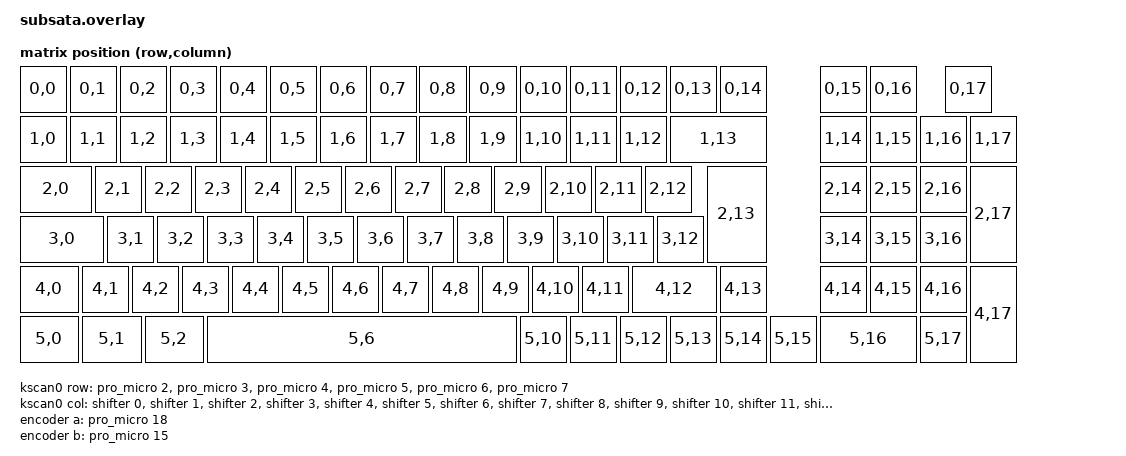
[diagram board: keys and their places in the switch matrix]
/*
 * Subsata (Grstn90Plus): 99 keys + an EC11 encoder on a nice!nano v2 (or a
 * "ProMicro NRF52840" clone), mounted face-down.
 *
 * Matrix: 6 rows x 18 columns, diodes col2row.
 *   Rows 0-5      D2-D7, read directly by the controller.
 *   Columns 0-15  two daisy-chained 74HC595 shift registers (U2 = 0-7, U3 = 8-15).
 *   Columns 16-17 D1 and D0, driven directly by the controller.
 *   The encoder's push switch is row 0, column 17.
 *
 * Shift registers: SER = D19 (P0.02), SRCLK = D20 (P0.29), RCLK (latch) = D21 (P0.31).
 * LEDs: 99 SK6812MINI-E, data on D8 (P1.04).
 * nice!view header: MOSI ("SDA") = D14 (P1.11), SCK ("SCL") = D16 (P0.10), CS = D10.
 */

#include <dt-bindings/zmk/matrix_transform.h>
#include <dt-bindings/led/led.h>
#include <physical_layouts.dtsi>

/ {
    chosen {
        zmk,physical-layout = &subsata_layout;
        zmk,underglow = &led_strip;
    };

    kscan0: kscan {
        compatible = "zmk,kscan-gpio-matrix";
        diode-direction = "col2row";

        row-gpios
            = <&pro_micro 2 (GPIO_ACTIVE_HIGH | GPIO_PULL_DOWN)>
            , <&pro_micro 3 (GPIO_ACTIVE_HIGH | GPIO_PULL_DOWN)>
            , <&pro_micro 4 (GPIO_ACTIVE_HIGH | GPIO_PULL_DOWN)>
            , <&pro_micro 5 (GPIO_ACTIVE_HIGH | GPIO_PULL_DOWN)>
            , <&pro_micro 6 (GPIO_ACTIVE_HIGH | GPIO_PULL_DOWN)>
            , <&pro_micro 7 (GPIO_ACTIVE_HIGH | GPIO_PULL_DOWN)>
            ;

        col-gpios
            = <&shifter 0 GPIO_ACTIVE_HIGH>     /* U2 QA */
            , <&shifter 1 GPIO_ACTIVE_HIGH>
            , <&shifter 2 GPIO_ACTIVE_HIGH>
            , <&shifter 3 GPIO_ACTIVE_HIGH>
            , <&shifter 4 GPIO_ACTIVE_HIGH>
            , <&shifter 5 GPIO_ACTIVE_HIGH>
            , <&shifter 6 GPIO_ACTIVE_HIGH>
            , <&shifter 7 GPIO_ACTIVE_HIGH>     /* U2 QH */
            , <&shifter 8 GPIO_ACTIVE_HIGH>     /* U3 QA */
            , <&shifter 9 GPIO_ACTIVE_HIGH>
            , <&shifter 10 GPIO_ACTIVE_HIGH>
            , <&shifter 11 GPIO_ACTIVE_HIGH>
            , <&shifter 12 GPIO_ACTIVE_HIGH>
            , <&shifter 13 GPIO_ACTIVE_HIGH>
            , <&shifter 14 GPIO_ACTIVE_HIGH>
            , <&shifter 15 GPIO_ACTIVE_HIGH>    /* U3 QH */
            , <&pro_micro 1 GPIO_ACTIVE_HIGH>   /* column 16 */
            , <&pro_micro 0 GPIO_ACTIVE_HIGH>   /* column 17 */
            ;
    };

    default_transform: matrix_transform {
        compatible = "zmk,matrix-transform";
        rows = <6>;
        columns = <18>;
        map = <
        RC(0,0)   RC(0,1)   RC(0,2)   RC(0,3)   RC(0,4)   RC(0,5)   RC(0,6)   RC(0,7)   RC(0,8)   RC(0,9)   RC(0,10)  RC(0,11)  RC(0,12)  RC(0,13)  RC(0,14)  RC(0,15)  RC(0,16)  RC(0,17)
        RC(1,0)   RC(1,1)   RC(1,2)   RC(1,3)   RC(1,4)   RC(1,5)   RC(1,6)   RC(1,7)   RC(1,8)   RC(1,9)   RC(1,10)  RC(1,11)  RC(1,12)  RC(1,13)  RC(1,14)  RC(1,15)  RC(1,16)  RC(1,17)
        RC(2,0)   RC(2,1)   RC(2,2)   RC(2,3)   RC(2,4)   RC(2,5)   RC(2,6)   RC(2,7)   RC(2,8)   RC(2,9)   RC(2,10)  RC(2,11)  RC(2,12)  RC(2,13)  RC(2,14)  RC(2,15)  RC(2,16)  RC(2,17)
        RC(3,0)   RC(3,1)   RC(3,2)   RC(3,3)   RC(3,4)   RC(3,5)   RC(3,6)   RC(3,7)   RC(3,8)   RC(3,9)   RC(3,10)  RC(3,11)  RC(3,12)  RC(3,14)  RC(3,15)  RC(3,16)
        RC(4,0)   RC(4,1)   RC(4,2)   RC(4,3)   RC(4,4)   RC(4,5)   RC(4,6)   RC(4,7)   RC(4,8)   RC(4,9)   RC(4,10)  RC(4,11)  RC(4,12)  RC(4,13)  RC(4,14)  RC(4,15)  RC(4,16)  RC(4,17)
        RC(5,0)   RC(5,1)   RC(5,2)   RC(5,6)   RC(5,10)  RC(5,11)  RC(5,12)  RC(5,13)  RC(5,14)  RC(5,15)  RC(5,16)  RC(5,17)
        >;
    };

    subsata_layout: subsata_layout {
        compatible = "zmk,physical-layout";
        display-name = "Subsata";
        transform = <&default_transform>;
        kscan = <&kscan0>;
        keys  //                     w   h     x    y rot rx ry
            = <&key_physical_attrs 100 100     0    0 0 0 0>
            , <&key_physical_attrs 100 100   100    0 0 0 0>
            , <&key_physical_attrs 100 100   200    0 0 0 0>
            , <&key_physical_attrs 100 100   300    0 0 0 0>
            , <&key_physical_attrs 100 100   400    0 0 0 0>
            , <&key_physical_attrs 100 100   500    0 0 0 0>
            , <&key_physical_attrs 100 100   600    0 0 0 0>
            , <&key_physical_attrs 100 100   700    0 0 0 0>
            , <&key_physical_attrs 100 100   800    0 0 0 0>
            , <&key_physical_attrs 100 100   900    0 0 0 0>
            , <&key_physical_attrs 100 100  1000    0 0 0 0>
            , <&key_physical_attrs 100 100  1100    0 0 0 0>
            , <&key_physical_attrs 100 100  1200    0 0 0 0>
            , <&key_physical_attrs 100 100  1300    0 0 0 0>
            , <&key_physical_attrs 100 100  1400    0 0 0 0>
            , <&key_physical_attrs 100 100  1600    0 0 0 0>
            , <&key_physical_attrs 100 100  1700    0 0 0 0>
            , <&key_physical_attrs 100 100  1850    0 0 0 0>
            , <&key_physical_attrs 100 100     0  100 0 0 0>
            , <&key_physical_attrs 100 100   100  100 0 0 0>
            , <&key_physical_attrs 100 100   200  100 0 0 0>
            , <&key_physical_attrs 100 100   300  100 0 0 0>
            , <&key_physical_attrs 100 100   400  100 0 0 0>
            , <&key_physical_attrs 100 100   500  100 0 0 0>
            , <&key_physical_attrs 100 100   600  100 0 0 0>
            , <&key_physical_attrs 100 100   700  100 0 0 0>
            , <&key_physical_attrs 100 100   800  100 0 0 0>
            , <&key_physical_attrs 100 100   900  100 0 0 0>
            , <&key_physical_attrs 100 100  1000  100 0 0 0>
            , <&key_physical_attrs 100 100  1100  100 0 0 0>
            , <&key_physical_attrs 100 100  1200  100 0 0 0>
            , <&key_physical_attrs 200 100  1300  100 0 0 0>
            , <&key_physical_attrs 100 100  1600  100 0 0 0>
            , <&key_physical_attrs 100 100  1700  100 0 0 0>
            , <&key_physical_attrs 100 100  1800  100 0 0 0>
            , <&key_physical_attrs 100 100  1900  100 0 0 0>
            , <&key_physical_attrs 150 100     0  200 0 0 0>
            , <&key_physical_attrs 100 100   150  200 0 0 0>
            , <&key_physical_attrs 100 100   250  200 0 0 0>
            , <&key_physical_attrs 100 100   350  200 0 0 0>
            , <&key_physical_attrs 100 100   450  200 0 0 0>
            , <&key_physical_attrs 100 100   550  200 0 0 0>
            , <&key_physical_attrs 100 100   650  200 0 0 0>
            , <&key_physical_attrs 100 100   750  200 0 0 0>
            , <&key_physical_attrs 100 100   850  200 0 0 0>
            , <&key_physical_attrs 100 100   950  200 0 0 0>
            , <&key_physical_attrs 100 100  1050  200 0 0 0>
            , <&key_physical_attrs 100 100  1150  200 0 0 0>
            , <&key_physical_attrs 100 100  1250  200 0 0 0>
            , <&key_physical_attrs 125 200  1375  200 0 0 0>
            , <&key_physical_attrs 100 100  1600  200 0 0 0>
            , <&key_physical_attrs 100 100  1700  200 0 0 0>
            , <&key_physical_attrs 100 100  1800  200 0 0 0>
            , <&key_physical_attrs 100 200  1900  200 0 0 0>
            , <&key_physical_attrs 175 100     0  300 0 0 0>
            , <&key_physical_attrs 100 100   175  300 0 0 0>
            , <&key_physical_attrs 100 100   275  300 0 0 0>
            , <&key_physical_attrs 100 100   375  300 0 0 0>
            , <&key_physical_attrs 100 100   475  300 0 0 0>
            , <&key_physical_attrs 100 100   575  300 0 0 0>
            , <&key_physical_attrs 100 100   675  300 0 0 0>
            , <&key_physical_attrs 100 100   775  300 0 0 0>
            , <&key_physical_attrs 100 100   875  300 0 0 0>
            , <&key_physical_attrs 100 100   975  300 0 0 0>
            , <&key_physical_attrs 100 100  1075  300 0 0 0>
            , <&key_physical_attrs 100 100  1175  300 0 0 0>
            , <&key_physical_attrs 100 100  1275  300 0 0 0>
            , <&key_physical_attrs 100 100  1600  300 0 0 0>
            , <&key_physical_attrs 100 100  1700  300 0 0 0>
            , <&key_physical_attrs 100 100  1800  300 0 0 0>
            , <&key_physical_attrs 125 100     0  400 0 0 0>
            , <&key_physical_attrs 100 100   125  400 0 0 0>
            , <&key_physical_attrs 100 100   225  400 0 0 0>
            , <&key_physical_attrs 100 100   325  400 0 0 0>
            , <&key_physical_attrs 100 100   425  400 0 0 0>
            , <&key_physical_attrs 100 100   525  400 0 0 0>
            , <&key_physical_attrs 100 100   625  400 0 0 0>
            , <&key_physical_attrs 100 100   725  400 0 0 0>
            , <&key_physical_attrs 100 100   825  400 0 0 0>
            , <&key_physical_attrs 100 100   925  400 0 0 0>
            , <&key_physical_attrs 100 100  1025  400 0 0 0>
            , <&key_physical_attrs 100 100  1125  400 0 0 0>
            , <&key_physical_attrs 175 100  1225  400 0 0 0>
            , <&key_physical_attrs 100 100  1400  400 0 0 0>
            , <&key_physical_attrs 100 100  1600  400 0 0 0>
            , <&key_physical_attrs 100 100  1700  400 0 0 0>
            , <&key_physical_attrs 100 100  1800  400 0 0 0>
            , <&key_physical_attrs 100 200  1900  400 0 0 0>
            , <&key_physical_attrs 125 100     0  500 0 0 0>
            , <&key_physical_attrs 125 100   125  500 0 0 0>
            , <&key_physical_attrs 125 100   250  500 0 0 0>
            , <&key_physical_attrs 625 100   375  500 0 0 0>
            , <&key_physical_attrs 100 100  1000  500 0 0 0>
            , <&key_physical_attrs 100 100  1100  500 0 0 0>
            , <&key_physical_attrs 100 100  1200  500 0 0 0>
            , <&key_physical_attrs 100 100  1300  500 0 0 0>
            , <&key_physical_attrs 100 100  1400  500 0 0 0>
            , <&key_physical_attrs 100 100  1500  500 0 0 0>
            , <&key_physical_attrs 200 100  1600  500 0 0 0>
            , <&key_physical_attrs 100 100  1800  500 0 0 0>
            ;
    };

    encoder: encoder {
        compatible = "alps,ec11";
        a-gpios = <&pro_micro 18 (GPIO_ACTIVE_HIGH | GPIO_PULL_UP)>;
        b-gpios = <&pro_micro 15 (GPIO_ACTIVE_HIGH | GPIO_PULL_UP)>;
        steps = <80>;
        status = "okay";
    };

    sensors: sensors {
        compatible = "zmk,keymap-sensors";
        sensors = <&encoder>;
        triggers-per-rotation = <20>;
    };
};

&pinctrl {
    /* Shift registers: replaces the nice!nano's default SPI1 pins. No MISO. */
    spi1_default: spi1_default {
        group1 {
            psels = <NRF_PSEL(SPIM_SCK, 0, 29)>,    /* D20 -> SRCLK */
                    <NRF_PSEL(SPIM_MOSI, 0, 2)>;    /* D19 -> SER */
        };
    };
    spi1_sleep: spi1_sleep {
        group1 {
            psels = <NRF_PSEL(SPIM_SCK, 0, 29)>,
                    <NRF_PSEL(SPIM_MOSI, 0, 2)>;
            low-power-enable;
        };
    };

    /* nice!view */
    spi2_default: spi2_default {
        group1 {
            psels = <NRF_PSEL(SPIM_SCK, 0, 10)>,    /* D16 */
                    <NRF_PSEL(SPIM_MOSI, 1, 11)>;   /* D14 */
        };
    };
    spi2_sleep: spi2_sleep {
        group1 {
            psels = <NRF_PSEL(SPIM_SCK, 0, 10)>,
                    <NRF_PSEL(SPIM_MOSI, 1, 11)>;
            low-power-enable;
        };
    };

    /* LED data */
    spi3_default: spi3_default {
        group1 {
            psels = <NRF_PSEL(SPIM_MOSI, 1, 4)>;    /* D8 */
        };
    };
    spi3_sleep: spi3_sleep {
        group1 {
            psels = <NRF_PSEL(SPIM_MOSI, 1, 4)>;
            low-power-enable;
        };
    };
};

&spi1 {
    status = "okay";
    compatible = "nordic,nrf-spim";
    pinctrl-0 = <&spi1_default>;
    pinctrl-1 = <&spi1_sleep>;
    pinctrl-names = "default", "sleep";
    cs-gpios = <&pro_micro 21 GPIO_ACTIVE_LOW>;     /* D21 -> RCLK (latch) */

    shifter: 595@0 {
        compatible = "zmk,gpio-595";
        status = "okay";
        gpio-controller;
        spi-max-frequency = <1000000>;
        reg = <0>;
        #gpio-cells = <2>;
        ngpios = <16>;
    };
};

/* Enabled by adding the nice_view shield to the build. */
nice_view_spi: &spi2 {
    compatible = "nordic,nrf-spim";
    pinctrl-0 = <&spi2_default>;
    pinctrl-1 = <&spi2_sleep>;
    pinctrl-names = "default", "sleep";
    cs-gpios = <&pro_micro 10 GPIO_ACTIVE_HIGH>;
};

&spi3 {
    status = "okay";
    compatible = "nordic,nrf-spim";
    pinctrl-0 = <&spi3_default>;
    pinctrl-1 = <&spi3_sleep>;
    pinctrl-names = "default", "sleep";

    led_strip: ws2812@0 {
        compatible = "worldsemi,ws2812-spi";
        reg = <0>;
        spi-max-frequency = <4000000>;
        chain-length = <99>;
        spi-one-frame = <0x70>;
        spi-zero-frame = <0x40>;
        color-mapping = <LED_COLOR_ID_GREEN LED_COLOR_ID_RED LED_COLOR_ID_BLUE>;
    };
};
